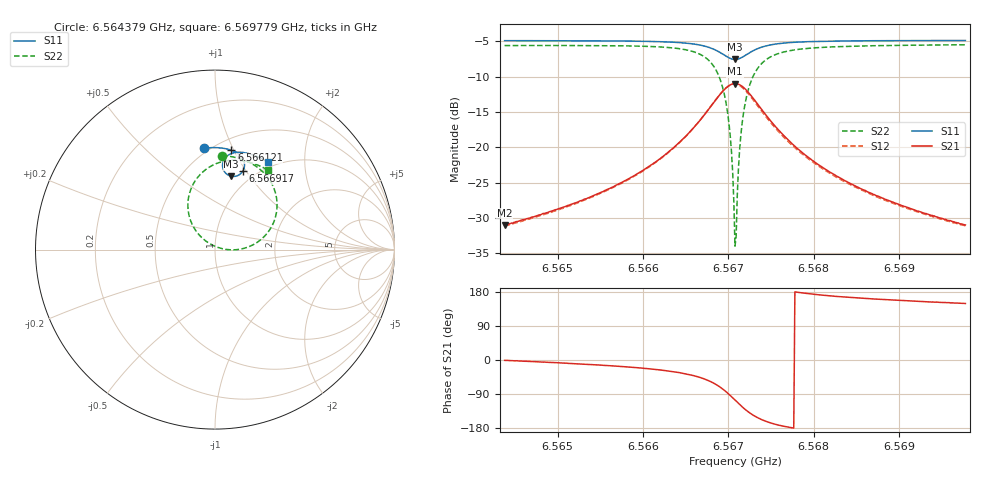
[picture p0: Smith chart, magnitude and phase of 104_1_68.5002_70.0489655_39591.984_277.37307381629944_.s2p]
#  HZ  S  RI  R  50.00
! Rohde & Schwarz Vector Network Analyzer
! Rohde-Schwarz,ZNB20-2Port,1311601062101988,3.16
! Created: UTC 3/20/2024, 5:08:19 PM
! freq[Hz]  re:S11  im:S11  re:S21  im:S21  re:S12  im:S12  re:S22  im:S22
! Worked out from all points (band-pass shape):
!   401 points, 6.564379 GHz to 6.569779 GHz, reference 50 ohm
!   highest |S21| = -10.98 dB at 6.567079 GHz (marker M1); lowest = -31.0 dB at 6.564379 GHz (marker M2)
!   |S21| within 3 dB of the highest: 6.566811 GHz to 6.56735 GHz (539.3 kHz wide, 0.00821 % of centre)
!   lowest |S11| = -7.6 dB at 6.567079 GHz (marker M3), VSWR 2.44, Z = 41.4 + j41.1 ohm
!   |S11| at or under -10 dB: nowhere
!   |S22| runs from -34.0 to -5.5 dB; largest |S21 - S12| = 0.013
!   S11 on the Smith chart (normalised r, x): 6.564379 GHz: 0.47, +0.78; 6.566121 GHz: 0.60, +0.98; 6.566917 GHz: 0.87, +0.97; 6.569779 GHz: 0.91, +1.33
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6.5643791e9  -0.0612 0.5658  0.0281 -0.000428  0.0277 -0.000963  0.0386 0.5241
6.5652837e9  0.0131 0.5677  0.0414 -0.00776  0.0407 -0.0083  0.1243 0.5104
6.5661207e9  0.0913 0.5538  0.07 -0.0314  0.0687 -0.0323  0.2335 0.4606
6.5661882e9  0.0984 0.5512  0.0737 -0.0357  0.0725 -0.0366  0.2453 0.4518
6.5664852e9  0.1328 0.5317  0.0948 -0.0684  0.0933 -0.0696  0.3041 0.3877
6.5667012e9  0.1578 0.5002  0.1087 -0.1228  0.1063 -0.1253  0.3436 0.2824
6.5668227e9  0.1644 0.4689  0.1013 -0.1778  0.0969 -0.1811  0.3359 0.1777
6.5669172e9  0.1551 0.4374  0.0686 -0.2319  0.0609 -0.2352  0.2772 0.0759
6.5669712e9  0.1399 0.4202  0.0315 -0.2602  0.0216 -0.2617  0.2091 0.0253
6.5670117e9  0.1235 0.4111  -0.00553 -0.2738  -0.0169 -0.2732  0.1417 0.00249
6.5670387e9  0.1105 0.408  -0.0333 -0.2773  -0.0452 -0.2748  0.0916 -0.00134
6.5670657e9  0.0969 0.4077  -0.0621 -0.2752  -0.074 -0.2705  0.0405 0.00511
6.5670792e9  0.0901 0.4088  -0.0762 -0.2721  -0.088 -0.2662  0.0156 0.0123
6.5671062e9  0.0771 0.4132  -0.1034 -0.2616  -0.1142 -0.2537  -0.031 0.0341
6.5671332e9  0.0656 0.4204  -0.1275 -0.2463  -0.1369 -0.2368  -0.0712 0.0643
6.5671737e9  0.0522 0.4346  -0.1559 -0.2169  -0.1623 -0.2058  -0.1158 0.1193
6.5672277e9  0.0432 0.4566  -0.1775 -0.1734  -0.1804 -0.1621  -0.1463 0.1982
6.5672952e9  0.0433 0.4821  -0.1834 -0.1236  -0.183 -0.1137  -0.1482 0.2857
6.5675382e9  0.0807 0.5306  -0.1408 -0.0278  -0.1378 -0.0236  -0.0513 0.4464
6.5679837e9  0.1438 0.5422  -0.0804 0.00854  -0.0786 0.00995  0.0855 0.4974
6.5688883e9  0.2281 0.5215  -0.0389 0.015  -0.0381 0.0154  0.2156 0.4797
6.5697793e9  0.2939 0.4895  -0.0242 0.0145  -0.0237 0.0146  0.2938 0.4436
